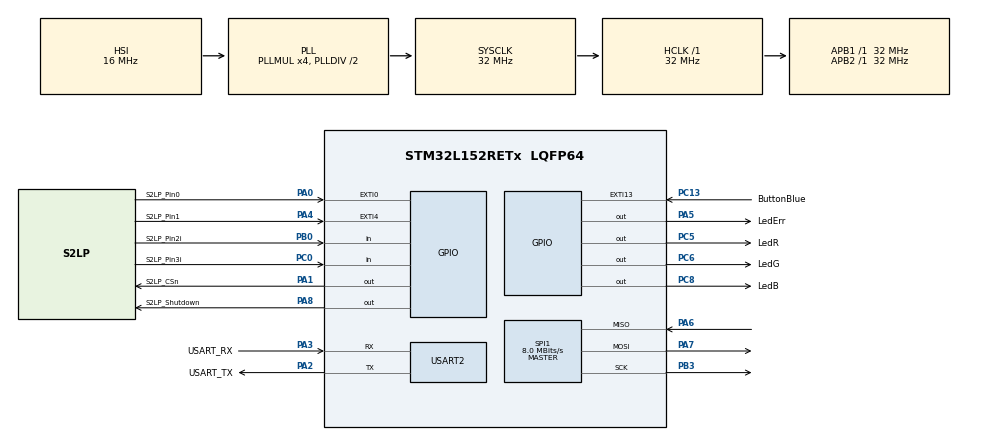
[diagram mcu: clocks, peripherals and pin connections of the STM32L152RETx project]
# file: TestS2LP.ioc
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Mcu.Family=STM32L1
Mcu.Name=STM32L152RETx
Mcu.Package=LQFP64
NVIC.EXTI0_IRQn=true\:0\:0\:false\:false\:true\:true
NVIC.EXTI15_10_IRQn=true\:4\:0\:true\:false\:true\:true
NVIC.EXTI4_IRQn=true\:0\:0\:false\:false\:true\:true
NVIC.PriorityGroup=NVIC_PRIORITYGROUP_4
PA0-WKUP1.GPIO_Label=S2LP_Pin0
PA0-WKUP1.GPIO_ModeDefaultEXTI=GPIO_MODE_IT_FALLING
PA0-WKUP1.Signal=GPXTI0
PA1.GPIO_Label=S2LP_CSn
PA1.Signal=GPIO_Output
PA13.GPIO_Label=TMS
PA13.Mode=Serial_Wire
PA13.Signal=SYS_JTMS-SWDIO
PA14.GPIO_Label=TCK
PA14.Mode=Serial_Wire
PA14.Signal=SYS_JTCK-SWCLK
PA2.GPIO_Label=USART_TX
PA2.Mode=Asynchronous
PA2.Signal=USART2_TX
PA3.GPIO_Label=USART_RX
PA3.Mode=Asynchronous
PA3.Signal=USART2_RX
PA4.GPIO_Label=S2LP_Pin1
PA4.GPIO_ModeDefaultEXTI=GPIO_MODE_IT_FALLING
PA4.Signal=GPXTI4
PA5.GPIO_Label=LedErr
PA5.Signal=GPIO_Output
PA6.Mode=Full_Duplex_Master
PA6.Signal=SPI1_MISO
PA7.Mode=Full_Duplex_Master
PA7.Signal=SPI1_MOSI
PA8.GPIO_Label=S2LP_Shutdown
PA8.Signal=GPIO_Output
PB0.GPIO_Label=S2LP_Pin2i
PB0.Signal=GPIO_Input
PB3.Mode=Full_Duplex_Master
PB3.Signal=SPI1_SCK
PC0.GPIO_Label=S2LP_Pin3i
PC0.Signal=GPIO_Input
PC13-WKUP2.GPIO_Label=ButtonBlue
PC13-WKUP2.Signal=GPXTI13
PC5.GPIO_Label=LedR
PC5.Signal=GPIO_Output
PC6.GPIO_Label=LedG
PC6.Signal=GPIO_Output
PC8.GPIO_Label=LedB
PC8.PinState=GPIO_PIN_RESET
PC8.Signal=GPIO_Output
ProjectManager.HeapSize=0x200
ProjectManager.StackSize=0x400
ProjectManager.TargetToolchain=SW4STM32
RCC.48MHZClocksFreq_Value=32000000
RCC.AHBFreq_Value=32000000
RCC.APB1Freq_Value=32000000
RCC.APB1TimFreq_Value=32000000
RCC.APB2Freq_Value=32000000
RCC.APB2TimFreq_Value=32000000
RCC.HCLKFreq_Value=32000000
RCC.HSE_VALUE=8000000
RCC.HSI_VALUE=16000000
RCC.LSE_VALUE=32768
RCC.MSI_VALUE=2097000
RCC.PLLMUL=RCC_PLL_MUL4
RCC.PLLSourceVirtual=RCC_PLLSOURCE_HSI
RCC.RTCClockSelectionVirtual=RCC_RTCCLKSOURCE_LSE
RCC.SYSCLKFreq_VALUE=32000000
RCC.SYSCLKSource=RCC_SYSCLKSOURCE_PLLCLK
RCC.USBOutput=32000000
RCC.VCOOutputFreq_Value=64000000
SPI1.BaudRatePrescaler=SPI_BAUDRATEPRESCALER_4
SPI1.CRCCalculation=SPI_CRCCALCULATION_DISABLE
SPI1.CalculateBaudRate=8.0 MBits/s
SPI1.Direction=SPI_DIRECTION_2LINES
SPI1.Mode=SPI_MODE_MASTER
SPI1.VirtualType=VM_MASTER
USART2.VirtualMode=VM_ASYNC
board=NUCLEO-L152RE

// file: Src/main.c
/**
 ******************************************************************************
 * File Name          : main.c
 * Description        : Main program body
 ******************************************************************************
 ** This notice applies to any and all portions of this file
 * that are not between comment pairs USER CODE BEGIN and
 * USER CODE END. Other portions of this file, whether
 * inserted by the user or by software development tools
 * are owned by their respective copyright owners.
 *
 * COPYRIGHT(c) 2017 STMicroelectronics
 *
 * Redistribution and use in source and binary forms, with or without modification,
 * are permitted provided that the following conditions are met:
 *   1. Redistributions of source code must retain the above copyright notice,
 *      this list of conditions and the following disclaimer.
 *   2. Redistributions in binary form must reproduce the above copyright notice,
 *      this list of conditions and the following disclaimer in the documentation
 *      and/or other materials provided with the distribution.
 *   3. Neither the name of STMicroelectronics nor the names of its contributors
 *      may be used to endorse or promote products derived from this software
 *      without specific prior written permission.
 *
 * THIS SOFTWARE IS PROVIDED BY THE COPYRIGHT HOLDERS AND CONTRIBUTORS "AS IS"
 * AND ANY EXPRESS OR IMPLIED WARRANTIES, INCLUDING, BUT NOT LIMITED TO, THE
 * IMPLIED WARRANTIES OF MERCHANTABILITY AND FITNESS FOR A PARTICULAR PURPOSE ARE
 * DISCLAIMED. IN NO EVENT SHALL THE COPYRIGHT HOLDER OR CONTRIBUTORS BE LIABLE
 * FOR ANY DIRECT, INDIRECT, INCIDENTAL, SPECIAL, EXEMPLARY, OR CONSEQUENTIAL
 * DAMAGES (INCLUDING, BUT NOT LIMITED TO, PROCUREMENT OF SUBSTITUTE GOODS OR
 * SERVICES; LOSS OF USE, DATA, OR PROFITS; OR BUSINESS INTERRUPTION) HOWEVER
 * CAUSED AND ON ANY THEORY OF LIABILITY, WHETHER IN CONTRACT, STRICT LIABILITY,
 * OR TORT (INCLUDING NEGLIGENCE OR OTHERWISE) ARISING IN ANY WAY OUT OF THE USE
 * OF THIS SOFTWARE, EVEN IF ADVISED OF THE POSSIBILITY OF SUCH DAMAGE.
 *
 ******************************************************************************
 */

#include "main.h"
#include "stm32l1xx_hal.h"

/* USER CODE BEGIN Includes */

#include "stm32l1xx_hal_uart.h"
#include "xprint.h"
#include "storage.h"
#include "MCU_Interface_template.h"
#include <stdbool.h>
#include "radio.h"
#include "MCU_Interface.h"

/* USER CODE END Includes */

SPI_HandleTypeDef hspi1;

UART_HandleTypeDef huart2;

/* USER CODE BEGIN PV */
/* Private variables ---------------------------------------------------------*/
static DeviceID destId = 1;
/* USER CODE END PV */

void SystemClock_Config(void);
static void MX_GPIO_Init(void);
static void MX_USART2_UART_Init(void);
static void MX_SPI1_Init(void);

/* USER CODE BEGIN PFP */

/* Private function prototypes -----------------------------------------------*/
void ReceiveCallback(RADIO_PacketHeader *header, void* pData, uint8_t dataLen) {
//  LOG("RADIO: Received 0x%x->0x%x %d bytes", header->src, header->dest, dataLen);
  // LOGMEM(pData, dataLen);
  destId = header->src;

  RADIO_Transmit(destId, pData, dataLen);
}
/* USER CODE END PFP */

int main(void) {

  /* USER CODE BEGIN 1 */
  //
  /* USER CODE END 1 */

  /* MCU Configuration----------------------------------------------------------*/

  /* Reset of all peripherals, Initializes the Flash interface and the Systick. */
  HAL_Init();

  /* Configure the system clock */
  SystemClock_Config();

  /* Initialize all configured peripherals */
  MX_GPIO_Init();
  MX_USART2_UART_Init();
  MX_SPI1_Init();

  /* USER CODE BEGIN 2 */
#if X_PRINT_LOG
  //	xprint_init_SWO();
  xprint_init_UART(&huart2);
  LOG("Start TestS2LP");
#endif

  SdkEvalSpiInitEx(&hspi1, S2LP_CSn_GPIO_Port, S2LP_CSn_Pin, S2LP_Shutdown_GPIO_Port, S2LP_Shutdown_Pin);

  RADIO_InitStruct radio = {
    .devID = 2,
    .receiveCallbackFn = ReceiveCallback
  };
  RADIO_Init(&radio);

  /* USER CODE END 2 */

  /* Infinite loop */
  while (1) {

    /* USER CODE BEGIN 3 */
    RADIO_Process();

    GPIOA->BSRR = RADIO_IsReceive() ? GPIO_BSRR_BS_5 : GPIO_BSRR_BR_5;
  }
  /* USER CODE END 3 */

}

/** System Clock Configuration
 */
void SystemClock_Config(void) {

  RCC_OscInitTypeDef RCC_OscInitStruct;
  RCC_ClkInitTypeDef RCC_ClkInitStruct;

  /**Configure the main internal regulator output voltage
   */
  __HAL_PWR_VOLTAGESCALING_CONFIG(PWR_REGULATOR_VOLTAGE_SCALE1);

  /**Initializes the CPU, AHB and APB busses clocks
   */
  RCC_OscInitStruct.OscillatorType = RCC_OSCILLATORTYPE_HSI;
  RCC_OscInitStruct.HSIState = RCC_HSI_ON;
  RCC_OscInitStruct.HSICalibrationValue = 16;
  RCC_OscInitStruct.PLL.PLLState = RCC_PLL_ON;
  RCC_OscInitStruct.PLL.PLLSource = RCC_PLLSOURCE_HSI;
  RCC_OscInitStruct.PLL.PLLMUL = RCC_PLL_MUL4;
  RCC_OscInitStruct.PLL.PLLDIV = RCC_PLL_DIV2;
  if (HAL_RCC_OscConfig(&RCC_OscInitStruct) != HAL_OK) {
    _Error_Handler(__FILE__, __LINE__);
  }

  /**Initializes the CPU, AHB and APB busses clocks
   */
  RCC_ClkInitStruct.ClockType = RCC_CLOCKTYPE_HCLK | RCC_CLOCKTYPE_SYSCLK
      | RCC_CLOCKTYPE_PCLK1 | RCC_CLOCKTYPE_PCLK2;
  RCC_ClkInitStruct.SYSCLKSource = RCC_SYSCLKSOURCE_PLLCLK;
  RCC_ClkInitStruct.AHBCLKDivider = RCC_SYSCLK_DIV1;
  RCC_ClkInitStruct.APB1CLKDivider = RCC_HCLK_DIV1;
  RCC_ClkInitStruct.APB2CLKDivider = RCC_HCLK_DIV1;

  if (HAL_RCC_ClockConfig(&RCC_ClkInitStruct, FLASH_LATENCY_1) != HAL_OK) {
    _Error_Handler(__FILE__, __LINE__);
  }

  /**Configure the Systick interrupt time
   */
  HAL_SYSTICK_Config(HAL_RCC_GetHCLKFreq() / 1000);

  /**Configure the Systick
   */
  HAL_SYSTICK_CLKSourceConfig(SYSTICK_CLKSOURCE_HCLK);

  /* SysTick_IRQn interrupt configuration */
  HAL_NVIC_SetPriority(SysTick_IRQn, 0, 0);
}

/* SPI1 init function */
static void MX_SPI1_Init(void) {

  /* SPI1 parameter configuration*/
  hspi1.Instance = SPI1;
  hspi1.Init.Mode = SPI_MODE_MASTER;
  hspi1.Init.Direction = SPI_DIRECTION_2LINES;
  hspi1.Init.DataSize = SPI_DATASIZE_8BIT;
  hspi1.Init.CLKPolarity = SPI_POLARITY_LOW;
  hspi1.Init.CLKPhase = SPI_PHASE_1EDGE;
  hspi1.Init.NSS = SPI_NSS_SOFT;
  hspi1.Init.BaudRatePrescaler = SPI_BAUDRATEPRESCALER_4;
  hspi1.Init.FirstBit = SPI_FIRSTBIT_MSB;
  hspi1.Init.TIMode = SPI_TIMODE_DISABLE;
  hspi1.Init.CRCCalculation = SPI_CRCCALCULATION_DISABLE;
  hspi1.Init.CRCPolynomial = 10;
  if (HAL_SPI_Init(&hspi1) != HAL_OK) {
    _Error_Handler(__FILE__, __LINE__);
  }

}

/* USART2 init function */
static void MX_USART2_UART_Init(void) {

  huart2.Instance = USART2;
  huart2.Init.BaudRate = 115200;
  huart2.Init.WordLength = UART_WORDLENGTH_8B;
  huart2.Init.StopBits = UART_STOPBITS_1;
  huart2.Init.Parity = UART_PARITY_NONE;
  huart2.Init.Mode = UART_MODE_TX_RX;
  huart2.Init.HwFlowCtl = UART_HWCONTROL_NONE;
  huart2.Init.OverSampling = UART_OVERSAMPLING_16;
  if (HAL_UART_Init(&huart2) != HAL_OK) {
    _Error_Handler(__FILE__, __LINE__);
  }

}

/** Configure pins as
 * Analog
 * Input
 * Output
 * EVENT_OUT
 * EXTI
 */
static void MX_GPIO_Init(void) {

  GPIO_InitTypeDef GPIO_InitStruct;

  /* GPIO Ports Clock Enable */
  __HAL_RCC_GPIOC_CLK_ENABLE();
  __HAL_RCC_GPIOA_CLK_ENABLE();
  __HAL_RCC_GPIOB_CLK_ENABLE();

  /*Configure GPIO pin Output Level */
  HAL_GPIO_WritePin(GPIOA, S2LP_CSn_Pin | LedErr_Pin | S2LP_Shutdown_Pin, GPIO_PIN_RESET);

  /*Configure GPIO pin Output Level */
  HAL_GPIO_WritePin(GPIOC, LedR_Pin | LedG_Pin | LedB_Pin, GPIO_PIN_RESET);

  /*Configure GPIO pin : ButtonBlue_Pin */
  GPIO_InitStruct.Pin = ButtonBlue_Pin;
  GPIO_InitStruct.Mode = GPIO_MODE_IT_RISING;
  GPIO_InitStruct.Pull = GPIO_NOPULL;
  HAL_GPIO_Init(ButtonBlue_GPIO_Port, &GPIO_InitStruct);

  /*Configure GPIO pin : S2LP_Pin3i_Pin */
  GPIO_InitStruct.Pin = S2LP_Pin3i_Pin;
  GPIO_InitStruct.Mode = GPIO_MODE_INPUT;
  GPIO_InitStruct.Pull = GPIO_NOPULL;
  HAL_GPIO_Init(S2LP_Pin3i_GPIO_Port, &GPIO_InitStruct);

  /*Configure GPIO pins : S2LP_Pin0_Pin S2LP_Pin1_Pin */
  GPIO_InitStruct.Pin = S2LP_Pin0_Pin | S2LP_Pin1_Pin;
  GPIO_InitStruct.Mode = GPIO_MODE_IT_FALLING;
  GPIO_InitStruct.Pull = GPIO_NOPULL;
  HAL_GPIO_Init(GPIOA, &GPIO_InitStruct);

  /*Configure GPIO pins : S2LP_CSn_Pin LedErr_Pin S2LP_Shutdown_Pin */
  GPIO_InitStruct.Pin = S2LP_CSn_Pin | LedErr_Pin | S2LP_Shutdown_Pin;
  GPIO_InitStruct.Mode = GPIO_MODE_OUTPUT_PP;
  GPIO_InitStruct.Pull = GPIO_NOPULL;
  GPIO_InitStruct.Speed = GPIO_SPEED_FREQ_LOW;
  HAL_GPIO_Init(GPIOA, &GPIO_InitStruct);

  /*Configure GPIO pins : LedR_Pin LedG_Pin LedB_Pin */
  GPIO_InitStruct.Pin = LedR_Pin | LedG_Pin | LedB_Pin;
  GPIO_InitStruct.Mode = GPIO_MODE_OUTPUT_PP;
  GPIO_InitStruct.Pull = GPIO_NOPULL;
  GPIO_InitStruct.Speed = GPIO_SPEED_FREQ_LOW;
  HAL_GPIO_Init(GPIOC, &GPIO_InitStruct);

  /*Configure GPIO pin : S2LP_Pin2i_Pin */
  GPIO_InitStruct.Pin = S2LP_Pin2i_Pin;
  GPIO_InitStruct.Mode = GPIO_MODE_INPUT;
  GPIO_InitStruct.Pull = GPIO_NOPULL;
  HAL_GPIO_Init(S2LP_Pin2i_GPIO_Port, &GPIO_InitStruct);

  /* EXTI interrupt init*/
  HAL_NVIC_SetPriority(EXTI0_IRQn, 0, 0);
  HAL_NVIC_EnableIRQ(EXTI0_IRQn);

  HAL_NVIC_SetPriority(EXTI4_IRQn, 0, 0);
  HAL_NVIC_EnableIRQ(EXTI4_IRQn);

  HAL_NVIC_SetPriority(EXTI15_10_IRQn, 4, 0);
  HAL_NVIC_EnableIRQ(EXTI15_10_IRQn);

}

/* USER CODE BEGIN 4 */

void HAL_GPIO_EXTI_Callback(uint16_t GPIO_Pin) {
  if (GPIO_Pin == ButtonBlue_Pin) {
    uint8_t data[] = {1, 2, 3, 4, 5, 6, 7, 8, 9, 10};
    RADIO_Transmit(destId, data, sizeof (data));
  }

  if (GPIO_Pin == S2LP_Pin0_Pin) {
    RADIO_IRQCallback();
  }
}

void inline LedErrorSet() {
  HAL_GPIO_WritePin(LedErr_GPIO_Port, LedErr_Pin, GPIO_PIN_SET);
}

void inline LedErrorSoftWhile() {
  while (1) {
    HAL_GPIO_TogglePin(LedErr_GPIO_Port, LedErr_Pin);
    HAL_Delay(2000);
  }
}

void inline LedErrorHardWhile() {
  while (1) {
    HAL_GPIO_TogglePin(LedErr_GPIO_Port, LedErr_Pin);
    HAL_Delay(500);
  }
}

void HAL_UART_ErrorCallback(UART_HandleTypeDef* huart) {
  uint32_t uartErrorCode = HAL_UART_GetError(huart);
  LOGERR("UART 0x%x Error 0x%x", huart->Instance, uartErrorCode);
  //SEE HAL_UART_ERROR_
  LedErrorSet();
}

void HAL_SPI_ErrorCallback(SPI_HandleTypeDef* hspi) {
  uint32_t spiErrorCode = HAL_SPI_GetError(hspi);
  LOGERR("SPI 0x%x Error 0x%x", hspi->Instance, spiErrorCode);
  //SEE HAL_SPI_ERROR_
  LedErrorSet();
}

/* USER CODE END 4 */

void _Error_Handler(char * file, int line) {
  /* USER CODE BEGIN Error_Handler_Debug */
  LOGERR("HAL Error_Handler %s:%d", file, line);
  LedErrorSoftWhile();
  /* User can add his own implementation to report the HAL error return state */
  while (1) {
  }
  /* USER CODE END Error_Handler_Debug */
}

#ifdef USE_FULL_ASSERT

/**
 * @brief Reports the name of the source file and the source line number
 * where the assert_param error has occurred.
 * @param file: pointer to the source file name
 * @param line: assert_param error line source number
 * @retval None
 */
void assert_failed(uint8_t* file, uint32_t line) {
  /* USER CODE BEGIN 6 */
  /* User can add his own implementation to report the file name and line number,
    ex: printf("Wrong parameters value: file %s on line %d\r\n", file, line) */
  LOG("assert_failed: Wrong parameters value: file %s on line %d\r\n", file, line);
  LedErrorSoftWhile();
  /* USER CODE END 6 */

}

#endif

/************************ (C) COPYRIGHT STMicroelectronics *****END OF FILE****/
